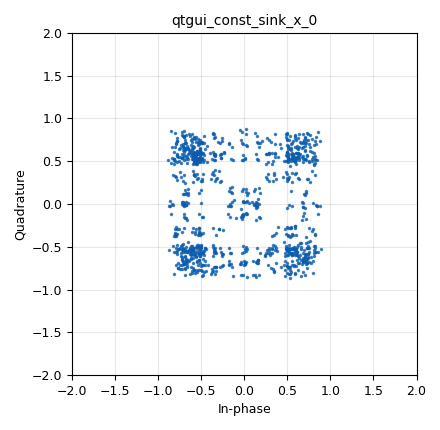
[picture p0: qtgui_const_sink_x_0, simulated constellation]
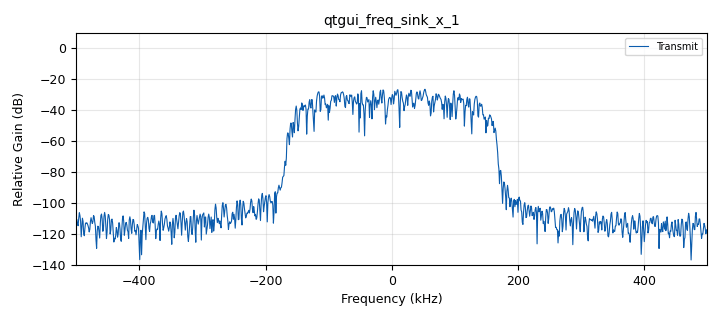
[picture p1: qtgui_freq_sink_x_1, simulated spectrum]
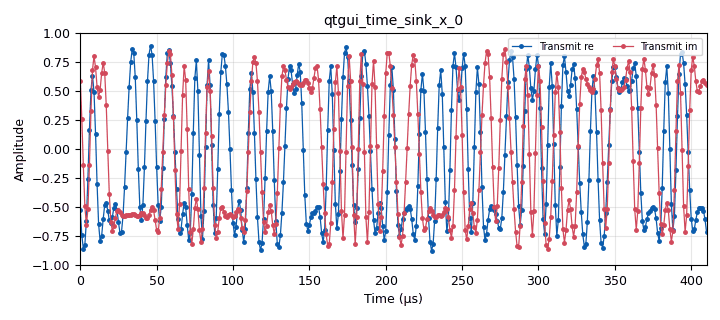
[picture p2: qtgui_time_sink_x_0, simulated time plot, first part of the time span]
options:
  parameters:
    author: ankur
    generate_options: qt_gui
    id: qpsk_root_raised
    output_language: python
    title: Not titled yet
  states: {}

blocks:
- name: alpha
  id: variable
  parameters:
    comment: |-
      Can't change alpha in real time
      for Consteallation Modulator
    value: '0.35'
  states: {}
- name: center_freq
  id: variable
  parameters:
    value: 915e6
  states: {state: disabled}
- name: center_freq
  id: variable_qtgui_range
  parameters:
    orient: Qt.Horizontal
    start: '70000000'
    step: '100000'
    stop: '6000000000'
    value: '915000000'
  states: {}
- name: constellation
  id: variable_constellation
  parameters:
    precision: '8'
    type: qpsk
  states: {}
- name: nfilts
  id: variable
  parameters:
    value: '32'
  states: {}
- name: nfilts_0
  id: variable
  parameters:
    value: '32'
  states: {}
- name: output_sps
  id: variable
  parameters:
    value: '1'
  states: {}
- name: rcc_taps
  id: variable_rrc_filter_taps
  parameters:
    alpha: alpha
    comment: |-
      Gain: nfilts
      Sample Rate: nfilts*samp_rate
      Symbol Rate: samp_rate/sps
      Excess BW: alpha
      Num Taps: 11*sps*nfilts
    gain: nfilts
    ntaps: 11*sps*nfilts
    samp_rate: nfilts*samp_rate
    sym_rate: samp_rate/sps
  states: {}
- name: rrc_taps
  id: variable
  parameters:
    value: firdes.root_raised_cosine(nfilts, nfilts, 1.0/float(sps), 0.35, 45*nfilts)
  states: {}
- name: samp_rate
  id: variable_qtgui_range
  parameters:
    orient: Qt.Horizontal
    rangeType: int
    start: '1000000'
    step: '100000'
    stop: '60000000'
    value: '1000000'
  states: {}
- name: samp_rate
  id: variable
  parameters:
    value: '5000000'
  states: {state: disabled}
- name: sps
  id: variable
  parameters:
    value: '4'
  states: {}
- name: timing_loop_bw
  id: variable_qtgui_range
  parameters:
    label: 'Time: BW'
    orient: Qt.Horizontal
    start: '0.0'
    step: '0.01'
    stop: '0.2'
    value: 6.28/100.0
    widget: slider
  states: {}
- name: tx_attenuation
  id: variable_qtgui_range
  parameters:
    orient: Qt.Horizontal
    rangeType: int
    start: '0'
    step: '1'
    stop: '100'
    value: '10'
  states: {}
- name: analog_random_source_x_0
  id: analog_random_source_x
  parameters:
    max: '4'
    min: '0'
    num_samps: '1000'
    repeat: 'True'
    type: byte
  states: {}
- name: blocks_char_to_float_0
  id: blocks_char_to_float
  parameters:
    scale: '1'
  states: {}
- name: blocks_char_to_float_0_0
  id: blocks_char_to_float
  parameters:
    scale: '1'
  states: {}
- name: blocks_multiply_const_vxx_0
  id: blocks_multiply_const_vxx
  parameters:
    const: '0.4'
    type: complex
  states: {}
- name: blocks_unpack_k_bits_bb_0
  id: blocks_unpack_k_bits_bb
  parameters:
    k: '2'
  states: {}
- name: blocks_unpack_k_bits_bb_0_0
  id: blocks_unpack_k_bits_bb
  parameters:
    k: '8'
  states: {}
- name: blocks_unpacked_to_packed_xx_0_0
  id: blocks_unpacked_to_packed_xx
  parameters:
    bits_per_chunk: constellation.bits_per_symbol()
    endianness: gr.GR_MSB_FIRST
    type: byte
  states: {}
- name: blocks_vector_source_x_0
  id: blocks_vector_source_x
  parameters:
    repeat: 'True'
    type: byte
    vector: (0,1,2,3,0,3,0,3,2,1,2,1)
  states: {state: disabled}
- name: digital_chunks_to_symbols_xx_0
  id: digital_chunks_to_symbols_xx
  parameters:
    dimension: '1'
    in_type: byte
    out_type: complex
    symbol_table: (-1-1j,-1+1j,1-1j,1+1j)
  states: {state: disabled}
- name: digital_constellation_decoder_cb_0
  id: digital_constellation_decoder_cb
  parameters:
    constellation: constellation
  states: {}
- name: digital_constellation_modulator_0
  id: digital_constellation_modulator
  parameters:
    comment: |-
      Unpack bytes into chunks of bits,
      look up constellation symbol,
      and apply RRC filter
    constellation: constellation
    differential: 'False'
    excess_bw: alpha
    samples_per_symbol: sps
  states: {}
- name: digital_costas_loop_cc_0
  id: digital_costas_loop_cc
  parameters:
    order: constellation.arity()
    w: 2*math.pi/100
  states: {state: disabled}
- name: digital_costas_loop_cc_1
  id: digital_costas_loop_cc
  parameters:
    order: '4'
    w: 2*math.pi/100
  states: {}
- name: digital_symbol_sync_xx_0
  id: digital_symbol_sync_xx
  parameters:
    damping: '1.0'
    loop_bw: '0.045'
    max_dev: '1.5'
    osps: '1'
    resamp_type: digital.IR_MMSE_8TAP
    sps: sps
    ted_gain: '1.0'
    ted_type: digital.TED_SIGNAL_TIMES_SLOPE_ML
    type: cc
  states: {}
- name: iio_pluto_sink_0
  id: iio_pluto_sink
  parameters:
    attenuation1: int(tx_attenuation)
    auto_filter: 'True'
    bandwidth: int(1000000)
    buffer_size: '32768'
    cyclic: 'False'
    frequency: int(center_freq)
    samplerate: samp_rate
    uri: 192.168.1.10
  states: {}
- name: iio_pluto_source_0
  id: iio_pluto_source
  parameters:
    auto_filter: 'True'
    bandwidth: '200000'
    bbdc: 'True'
    buffer_size: '32768'
    frequency: int(center_freq)
    gain1: '''fast_attack'''
    quadrature: 'True'
    rfdc: 'True'
    samplerate: samp_rate
    uri: 192.168.1.10
  states: {}
- name: import_0
  id: import
  parameters:
    imports: import math
  states: {}
- name: qtgui_const_sink_x_0
  id: qtgui_const_sink_x
  parameters:
    gui_hint: 1,0
    size: '1000'
    type: complex
  states: {}
- name: qtgui_const_sink_x_0_0
  id: qtgui_const_sink_x
  parameters:
    gui_hint: 3,0
    size: '1024'
    type: complex
  states: {}
- name: qtgui_const_sink_x_0_0_0
  id: qtgui_const_sink_x
  parameters:
    gui_hint: 5,0
    size: '1024'
    type: complex
  states: {}
- name: qtgui_freq_sink_x_0_1
  id: qtgui_freq_sink_x
  parameters:
    bw: samp_rate
    fc: '0'
    fftsize: '1024'
    gui_hint: 2,1
    type: complex
    wintype: firdes.WIN_BLACKMAN_hARRIS
  states: {}
- name: qtgui_freq_sink_x_0_1_0
  id: qtgui_freq_sink_x
  parameters:
    bw: samp_rate
    fc: '0'
    fftsize: '1024'
    gui_hint: 4,1
    type: complex
    wintype: firdes.WIN_BLACKMAN_hARRIS
  states: {}
- name: qtgui_freq_sink_x_1
  id: qtgui_freq_sink_x
  parameters:
    bw: samp_rate
    fc: '0'
    fftsize: '1024'
    gui_hint: 0,1
    label1: Transmit
    type: complex
    wintype: firdes.WIN_BLACKMAN_hARRIS
  states: {}
- name: qtgui_sink_x_0
  id: qtgui_sink_x
  parameters:
    bw: samp_rate
    fc: '0'
    fftsize: '1024'
    type: complex
  states: {state: disabled}
- name: qtgui_time_sink_x_0
  id: qtgui_time_sink_x
  parameters:
    gui_hint: 0,0
    label1: Transmit re
    label2: Transmit im
    marker1: '0'
    marker2: '0'
    size: '1024'
    srate: samp_rate
    type: complex
  states: {}
- name: qtgui_time_sink_x_0_1
  id: qtgui_time_sink_x
  parameters:
    gui_hint: 2,0
    label1: recieve REAL
    label2: recieve IMAG
    marker1: '0'
    marker2: '0'
    size: 1024*8
    srate: samp_rate
    type: complex
  states: {}
- name: qtgui_time_sink_x_0_1_0
  id: qtgui_time_sink_x
  parameters:
    gui_hint: 4,0
    label1: corrected real
    label2: corrected im
    marker1: '0'
    marker2: '0'
    size: 1024*8
    srate: samp_rate
    type: complex
  states: {}
- name: qtgui_time_sink_x_0_1_0_0
  id: qtgui_time_sink_x
  parameters:
    label1: RX
    label2: TX
    marker1: '0'
    marker2: '0'
    nconnections: '2'
    size: 1024*8
    srate: samp_rate
    type: float
  states: {}
- name: virtual_sink_0
  id: virtual_sink
  parameters:
    stream_id: tx
  states: {}
- name: virtual_source_0
  id: virtual_source
  parameters:
    stream_id: tx
  states: {}

connections:
- [analog_random_source_x_0, '0', blocks_unpacked_to_packed_xx_0_0, '0']
- [analog_random_source_x_0, '0', virtual_sink_0, '0']
- [blocks_char_to_float_0, '0', qtgui_time_sink_x_0_1_0_0, '0']
- [blocks_char_to_float_0_0, '0', qtgui_time_sink_x_0_1_0_0, '1']
- [blocks_multiply_const_vxx_0, '0', iio_pluto_sink_0, '0']
- [blocks_multiply_const_vxx_0, '0', qtgui_const_sink_x_0, '0']
- [blocks_multiply_const_vxx_0, '0', qtgui_freq_sink_x_1, '0']
- [blocks_multiply_const_vxx_0, '0', qtgui_time_sink_x_0, '0']
- [blocks_unpack_k_bits_bb_0, '0', blocks_char_to_float_0, '0']
- [blocks_unpack_k_bits_bb_0_0, '0', blocks_char_to_float_0_0, '0']
- [blocks_unpacked_to_packed_xx_0_0, '0', digital_constellation_modulator_0, '0']
- [blocks_vector_source_x_0, '0', blocks_unpacked_to_packed_xx_0_0, '0']
- [digital_chunks_to_symbols_xx_0, '0', qtgui_sink_x_0, '0']
- [digital_constellation_decoder_cb_0, '0', blocks_unpack_k_bits_bb_0, '0']
- [digital_constellation_modulator_0, '0', blocks_multiply_const_vxx_0, '0']
- [digital_costas_loop_cc_0, '0', qtgui_const_sink_x_0_0, '0']
- [digital_costas_loop_cc_0, '0', qtgui_freq_sink_x_0_1, '0']
- [digital_costas_loop_cc_0, '0', qtgui_time_sink_x_0_1, '0']
- [digital_costas_loop_cc_1, '0', digital_constellation_decoder_cb_0, '0']
- [digital_costas_loop_cc_1, '0', qtgui_const_sink_x_0_0_0, '0']
- [digital_costas_loop_cc_1, '0', qtgui_freq_sink_x_0_1_0, '0']
- [digital_costas_loop_cc_1, '0', qtgui_time_sink_x_0_1_0, '0']
- [digital_symbol_sync_xx_0, '0', digital_costas_loop_cc_1, '0']
- [iio_pluto_source_0, '0', digital_costas_loop_cc_0, '0']
- [iio_pluto_source_0, '0', digital_symbol_sync_xx_0, '0']
- [iio_pluto_source_0, '0', qtgui_const_sink_x_0_0, '0']
- [iio_pluto_source_0, '0', qtgui_freq_sink_x_0_1, '0']
- [iio_pluto_source_0, '0', qtgui_time_sink_x_0_1, '0']
- [virtual_source_0, '0', blocks_unpack_k_bits_bb_0_0, '0']

metadata:
  file_format: 1
